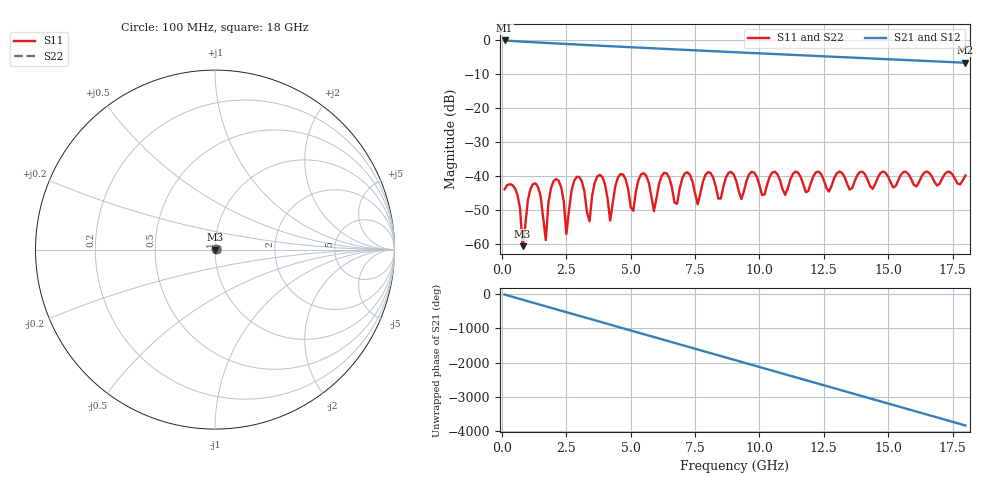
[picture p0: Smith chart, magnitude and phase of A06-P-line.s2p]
! yapnr rf coupon A: A06 P L100 (line, family P)
! stackup JLC04161H-7628, nominal parameters; reference planes 10 mm from each end; 50 ohm (renormalized from the line's Zc)
! model: 2D quasi-static RLGC (Djordjevic-Sarkar, Huray roughness, Wheeler loss); generated by python -m yapnr.rf.coupons expected
# GHz S DB R 50
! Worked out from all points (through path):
!   180 points, 100 MHz to 18 GHz, reference 50 ohm
!   highest |S21| = -0.10 dB at 100 MHz (marker M1); lowest = -6.7 dB at 18 GHz (marker M2)
!   group delay of S21, straight-line fit = 590 ps
!   lowest |S11| = -60.6 dB at 800 MHz (marker M3), VSWR 1.00, Z = 50 - j0.0833 ohm
!   |S11| at or under -10 dB: start of sweep to end of sweep
!   |S22| runs from -60.6 to -38.6 dB; largest |S21 - S12| = 0
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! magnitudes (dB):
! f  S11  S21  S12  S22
! 100 MHz  -43.9  -0.1  -0.1  -43.9
! 600 MHz  -45.5  -0.4  -0.4  -45.5
! 800 MHz  -60.6  -0.4  -0.4  -60.6
! 1.2 GHz  -42.4  -0.6  -0.6  -42.4
! 1.7 GHz  -58.8  -0.8  -0.8  -58.8
! 2 GHz  -41.5  -0.9  -0.9  -41.5
! 2.3 GHz  -43.3  -1.1  -1.1  -43.3
! 2.5 GHz  -57.0  -1.1  -1.1  -57.0
! 2.8 GHz  -41.4  -1.3  -1.3  -41.4
! 3.1 GHz  -41.5  -1.4  -1.4  -41.5
! 3.4 GHz  -53.3  -1.5  -1.5  -53.3
! 3.8 GHz  -39.6  -1.6  -1.6  -39.6
! 4.2 GHz  -53.1  -1.8  -1.8  -53.1
! 4.6 GHz  -39.4  -1.9  -1.9  -39.4
! 5.1 GHz  -50.2  -2.1  -2.1  -50.2
! 5.4 GHz  -39.5  -2.2  -2.2  -39.5
! 5.9 GHz  -50.3  -2.4  -2.4  -50.3
! 6.1 GHz  -42.2  -2.5  -2.5  -42.2
! 9.1 GHz  -41.4  -3.6  -3.6  -41.4
! 12.1 GHz  -39.9  -4.6  -4.6  -39.9
! 15.1 GHz  -41.9  -5.7  -5.7  -41.9
! 18 GHz  -39.8  -6.7  -6.7  -39.8
